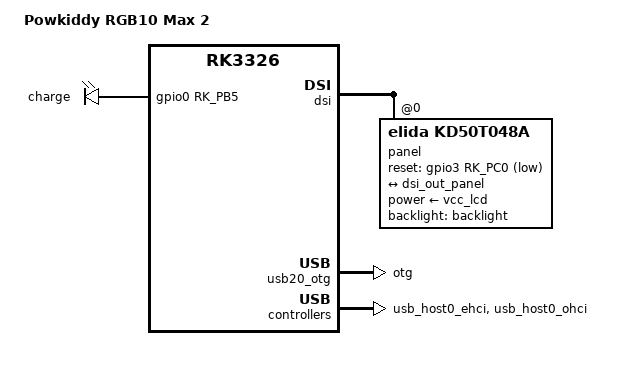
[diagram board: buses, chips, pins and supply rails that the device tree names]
// SPDX-License-Identifier: (GPL-2.0+ OR MIT)
/*
 * Powkiddy RGB10 Max 2 for andr36oid.
 *
 * Board evidence (user's card, RetroOZ 0.60, /opt/.retrooz/device =
 * rgb10max2native): RetroOZ boots hwrev=v10-go3 with
 * rk3326-odroidgo3-linux.dtb ("Machine model: Hardkernel ODROID-GO3"),
 * i.e. an ODROID-GO-Super-class board:
 *   - elida,kd50t048a 5" panel, MIPI DSI, 2 data lanes, 480x854 portrait
 *     used landscape (854x480), backlight pwm1 40000 ns, 251 levels
 *   - odroidgo3-joypad amux sticks, same mux pins as the R36S base
 *     (gpio3 PB3/PB0/PB5, saradc ch1), sticks need +invert-absrx
 *   - volume keys gpio2 PA0/PA1 (as in the base dtsi)
 *   - RK817 PMIC, 4000 mAh battery, charge LED gpio0 PB5, no vibrator,
 *     no gpio status LED beyond the base heartbeat
 *   - Wi-Fi: internal Realtek RTL8723BU on the internal USB bus
 *     (idVendor 0bda idProduct b720 behind a Genesys 05e3:0608 hub);
 *     &sdio stays off, nothing lives on SDIO.
 *
 * Everything else (CPU, power, USB, Android glue, ramoops, fixes) comes
 * from rk3326-r36s-android.dtsi, same as R46H/R50S and the other boards.
 */

/dts-v1/;
#include "rk3326-r36s-android.dtsi"

/ {
	model = "Powkiddy RGB10 Max 2";

	backlight: backlight {
		pwms = <&pwm1 0 40000 0>;
		brightness-levels = <
			  0   1   2   3   4   5   6   7
			  8   9  10  11  12  13  14  15
			 16  17  18  19  20  21  22  23
			 24  25  26  27  28  29  30  31
			 32  33  34  35  36  37  38  39
			 40  41  42  43  44  45  46  47
			 48  49  50  51  52  53  54  55
			 56  57  58  59  60  61  62  63
			 64  65  66  67  68  69  70  71
			 72  73  74  75  76  77  78  79
			 80  81  82  83  84  85  86  87
			 88  89  90  91  92  93  94  95
			 96  97  98  99 100 101 102 103
			104 105 106 107 108 109 110 111
			112 113 114 115 116 117 118 119
			120 121 122 123 124 125 126 127
			128 129 130 131 132 133 134 135
			136 137 138 139 140 141 142 143
			144 145 146 147 148 149 150 151
			152 153 154 155 156 157 158 159
			160 161 162 163 164 165 166 167
			168 169 170 171 172 173 174 175
			176 177 178 179 180 181 182 183
			184 185 186 187 188 189 190 191
			192 193 194 195 196 197 198 199
			200 201 202 203 204 205 206 207
			208 209 210 211 212 213 214 215
			216 217 218 219 220 221 222 223
			224 225 226 227 228 229 230 231
			232 233 234 235 236 237 238 239
			240 241 242 243 244 245 246 247
			248 249 250>;
		default-brightness-level = <125>;
	};
};

&leds {
	/delete-node/ vibrator;

	/* Charge LED: no driver reads the old chg_led_gpio property */
	charge {
		label = "charge";
		gpios = <&gpio0 RK_PB5 GPIO_ACTIVE_HIGH>;
		linux,default-trigger = "battery-charging";
	};
};

&joypad {
	/* RGB10 Max 2 sticks: go3 wiring, right stick X inverted as well */
	invert-absrx;
	/* no Fn button on this console; Android offers a stand-in */
	andr36oid,missing-buttons = "fn";
	/* explicit amux channel assignments as in the go3 DTB */
	abs_ry_channel = <1>;
	abs_rx_channel = <0>;
	abs_y_channel = <2>;
	abs_x_channel = <3>;

	/*
	 * Button map: the go3 (ODROID-GO Super) layout, ported verbatim from
	 * the RGB10 Max 2's own rk3326-odroidgo3-linux.dtb (RetroOZ boots it
	 * on this very unit). The R36S dtsi base differs in key codes (arrows
	 * vs BTN_DPAD_*, A/B swapped) and misses six aux/shoulder buttons on
	 * gpio2 PA4-PA7 / gpio3, so the whole sw set is replaced.
	 */
	/delete-node/ sw1;
	/delete-node/ sw2;
	/delete-node/ sw3;
	/delete-node/ sw4;
	/delete-node/ sw5;
	/delete-node/ sw6;
	/delete-node/ sw7;
	/delete-node/ sw8;
	/delete-node/ sw11;
	/delete-node/ sw12;
	/delete-node/ sw13;
	/delete-node/ sw15;
	/delete-node/ sw16;
	/delete-node/ sw19;
	/delete-node/ sw20;
	/delete-node/ sw21;
	/delete-node/ sw22;

	sw1 {
		gpios = <&gpio1 RK_PB4 GPIO_ACTIVE_LOW>;
		label = "GPIO DPAD-UP";
		linux,code = <103>; /* KEY_UP - the .kl maps arrows to DPAD */
	};
	sw2 {
		gpios = <&gpio1 RK_PB5 GPIO_ACTIVE_LOW>;
		label = "GPIO DPAD-DOWN";
		linux,code = <108>; /* KEY_DOWN */
	};
	sw3 {
		gpios = <&gpio1 RK_PB6 GPIO_ACTIVE_LOW>;
		label = "GPIO DPAD-LEFT";
		linux,code = <105>; /* KEY_LEFT */
	};
	sw4 {
		gpios = <&gpio1 RK_PB7 GPIO_ACTIVE_LOW>;
		label = "GPIO DPAD-RIGHT";
		linux,code = <106>; /* KEY_RIGHT */
	};
	sw5 {
		gpios = <&gpio1 RK_PA2 GPIO_ACTIVE_LOW>;
		label = "GPIO KEY BTN-A";
		linux,code = <304>; /* BTN_SOUTH -> BUTTON_A */
	};
	sw6 {
		gpios = <&gpio1 RK_PA5 GPIO_ACTIVE_LOW>;
		label = "GPIO BTN-B";
		linux,code = <305>; /* BTN_EAST -> BUTTON_B */
	};
	sw7 {
		gpios = <&gpio1 RK_PA6 GPIO_ACTIVE_LOW>;
		label = "GPIO BTN-Y";
		linux,code = <308>; /* BTN_WEST -> BUTTON_Y */
	};
	sw8 {
		gpios = <&gpio1 RK_PA7 GPIO_ACTIVE_LOW>;
		label = "GPIO BTN-X";
		linux,code = <307>; /* BTN_NORTH -> BUTTON_X */
	};
	sw9 {
		gpios = <&gpio2 RK_PA2 GPIO_ACTIVE_LOW>;
		label = "GPIO START";
		linux,code = <315>; /* BUTTON_START */
	};
	sw10 {
		gpios = <&gpio2 RK_PA3 GPIO_ACTIVE_LOW>;
		label = "GPIO SELECT";
		linux,code = <314>; /* BUTTON_SELECT */
	};
	sw11 {
		gpios = <&gpio2 RK_PA4 GPIO_ACTIVE_LOW>;
		label = "GPIO F5";
		linux,code = <0x2c4>; /* BTN_TRIGGER_HAPPY5 */
	};
	sw12 {
		gpios = <&gpio2 RK_PA5 GPIO_ACTIVE_LOW>;
		label = "GPIO F6";
		linux,code = <0x2c5>; /* BTN_TRIGGER_HAPPY6 */
	};
	sw13 {
		gpios = <&gpio2 RK_PA6 GPIO_ACTIVE_LOW>;
		label = "GPIO TOP-LEFT2";
		linux,code = <0x138>; /* BTN_TL2 (L2) */
	};
	sw14 {
		gpios = <&gpio2 RK_PA7 GPIO_ACTIVE_LOW>;
		label = "GPIO TOP-RIGHT2";
		linux,code = <0x139>; /* BTN_TR2 (R2) */
	};
	sw15 {
		gpios = <&gpio3 RK_PB1 GPIO_ACTIVE_LOW>;
		label = "GPIO F1";
		linux,code = <0x2c0>; /* BTN_TRIGGER_HAPPY1 */
	};
	sw16 {
		gpios = <&gpio3 RK_PB2 GPIO_ACTIVE_LOW>;
		label = "GPIO TOP-LEFT";
		linux,code = <0x136>; /* BTN_TL (L1) */
	};
	sw17 {
		gpios = <&gpio3 RK_PB4 GPIO_ACTIVE_LOW>;
		label = "GPIO F2";
		linux,code = <0x2c1>; /* BTN_TRIGGER_HAPPY2 */
	};
	sw18 {
		gpios = <&gpio3 RK_PB7 GPIO_ACTIVE_LOW>;
		label = "GPIO TOP-RIGHT";
		linux,code = <0x137>; /* BTN_TR (R1) */
	};

	/*
	 * sw22 from the R36S base (START on gpio3 PB4) is intentionally NOT
	 * kept: on the RGB10 Max 2's go3 wiring that pin is an aux button
	 * (sw17), and the real Start/Select sit on gpio2 PA2/PA3 (sw9/sw10).
	 * Keeping sw22 here would put two buttons on one pin.
	 */
};

&dsi {
	/delete-node/ panel@0;

		panel@0 {
			compatible = "elida,kd50t048a", "simple-panel-dsi";
			reg = <0>;

			/* pwm1 backlight */
			backlight = <&backlight>;

			/* LCD reset gpio GPIO3.C0 (kernel log: gpio 112, active low) */
			reset-gpios = <&gpio3 RK_PC0 GPIO_ACTIVE_LOW>;

			/* RK817 LDO8 */
			power-supply = <&vcc_lcd>;

			prepare-delay-ms = <2>;
			reset-delay-ms = <20>;
			init-delay-ms = <10>;
			enable-delay-ms = <50>;
			disable-delay-ms = <10>;
			unprepare-delay-ms = <10>;

			/* LCD size */
			width-mm = <69>;
			height-mm = <139>;

			dsi,flags = <(MIPI_DSI_MODE_VIDEO           |
				      MIPI_DSI_MODE_VIDEO_BURST     |
				      MIPI_DSI_MODE_LPM)>;

			dsi,format = <MIPI_DSI_FMT_RGB888>;
			/* This panel runs on two data lanes (go3 DTB), not four */
			dsi,lanes = <2>;

			/*
				- panel-init-sequence data description -
				  mipi_cmd, delay(ms), len, lcd_cmd, lcd_data...

				- mipi_cmd description -
				  05 : MIPI_DSI_SHORT_WRITE
				  15 : MIPI_DSI_SHORT_WRITE_PARAM
				  39 : MIPI_DSI_LONG_WRITE

				Init sequence and timings ported verbatim from the
				RGB10 Max 2's own rk3326-odroidgo3-linux.dtb.
			*/
			panel-init-sequence = [05 05 01 01 05 fa 01 11 39 00 06 ff 77 01 00 00 10 15 00 03 c0 e9 03 15 00 03 c1 11 02 15 00 03 c2 31 08 15 00 02 cc 10 39 00 11 b0 00 0d 14 0d 10 05 02 08 08 1e 05 13 11 a3 29 18 39 00 11 b1 00 0c 14 0c 10 05 03 08 07 20 05 13 11 a4 29 18 39 00 06 ff 77 01 00 00 11 15 00 02 b0 6c 15 00 02 b1 43 15 00 02 b2 07 15 00 02 b3 80 15 00 02 b5 47 15 00 02 b7 85 15 00 02 b8 20 15 00 02 b9 10 15 00 02 c1 78 15 00 02 c3 78 15 fa 02 d0 88 39 00 04 e0 00 00 02 39 00 0c e1 08 00 0a 00 07 00 09 00 00 33 33 39 00 0f e2 00 00 00 00 00 00 00 00 00 00 00 00 00 00 39 00 05 e3 00 00 33 33 15 00 03 e4 44 44 39 00 11 e5 0e 60 a0 a0 10 60 a0 a0 0a 60 a0 a0 0c 60 a0 a0 39 00 05 e6 00 00 33 33 15 00 03 e7 44 44 39 00 11 e8 0d 60 a0 a0 0f 60 a0 a0 09 60 a0 a0 0b 60 a0 a0 39 00 08 eb 02 01 e4 e4 44 00 40 15 00 03 ec 02 01 39 00 11 ed ab 89 76 54 01 ff ff ff ff ff ff 10 45 67 98 ba 39 00 06 ff 77 01 00 00 00 15 00 02 3a 70 15 00 02 53 ec 15 00 02 55 b3 15 00 02 5e ff 05 32 01 29];

			panel-exit-sequence = <0x5000128 0x5000110>;

			display-timings {
				native-mode = <&timing0>;

				timing0: timing0 {
					clock-frequency = <27500000>;
					hactive = <480>;
					vactive = <854>;
					hfront-porch = <2>;
					hsync-len = <10>;
					hback-porch = <2>;
					vfront-porch = <12>;
					vsync-len = <2>;
					vback-porch = <60>;
					hsync-active = <0>;
					vsync-active = <0>;
					de-active = <0>;
					pixelclk-active = <0>;
				};
			};

			ports {
				#address-cells = <1>;
				#size-cells = <0>;

				port@0 {
					reg = <0>;
					dsi_in_panel: endpoint {
						remote-endpoint = <&dsi_out_panel>;
					};
				};
			};
		};
};

&rk817 {
	battery {
		/* Panel and battery values from the RGB10 Max 2's own DTB:
		   4000 mAh cell, 4.2 V charge, 180 mOhm, 10 mOhm sense. */
		ocv_table = <3500 3625 3685 3697 3718 3735 3748
			     3760 3774 3788 3802 3816 3834 3853
			     3877 3908 3946 3975 4018 4071 4106>;
		design_capacity = <4000>;
		design_qmax = <4020>;
		bat_res = <180>;
		sleep_enter_current = <300>;
		sleep_exit_current = <300>;
		sleep_filter_current = <100>;
		power_off_thresd = <3300>;
		zero_algorithm_vol = <3850>;
		max_soc_offset = <60>;
		monitor_sec = <5>;
		virtual_power = <0>;
		sample_res = <10>;
	};

	charger {
		/delete-property/ bat_low_gpio;
		min_input_voltage = <4500>;
		max_input_current = <1500>;
		max_chrg_current = <2000>;
		max_chrg_voltage = <4200>;
		chrg_term_mode = <0>;
		chrg_finish_cur = <300>;
		virtual_power = <0>;
		sample_res = <10>;
	};
};

&rk817_codec {
	mic-in-differential;
};

/*
 * RGB10 Max 2 Wi-Fi — v17: the endgame test.
 * Live debugging (adb via tethered PC) proved: the bus, hub, dongle,
 * driver and Wi-Fi stack are all perfect — powering the OTG VBUS net
 * from outside (PC 5V) makes Wi-Fi work instantly; unplugging kills it
 * in <3s. otg_switch stays "disabled" while working, so the net is fed
 * ONLY by external VBUS today.
 * Remaining question: can the PMIC otg_switch rail drive this net at
 * all? v13's single snapshot showed the register claiming "on" while
 * the hub stayed dead — but that may have been transient (re-killed).
 * v17 = v13's extcon chain (port enabled, suppression deleted, phy
 * vbus-supply) on the v16 base (autosuspend off, PM pins, role toggle
 * + fast rail sampling in the diag). If the register holds "on" and
 * the hub still ignores it, the board wiring is the answer (external
 * 5V required); if the hub comes up, the rail path is fixed and
 * Wi-Fi works standalone.
 */
&u2phy_otg {
	vbus-supply = <&otg_switch>;
	/delete-property/ rockchip,no-vbus-en-extcon;
};

&usb20_otg {
	/* dual-role: boots as host (dtsi default-otg-mode), Android's init
	 * already configures the adb gadget (init.usb.configfs.rc) and the
	 * phy's otg_mode attribute switches roles — enables cable ADB. */
	dr_mode = "otg";
};

/*
 * RGB10 Max 2: also enable the dedicated host pair (EHCI + OHCI); the
 * shared u2phy host-port is already okay from the base dtsi.
 */
&usb_host0_ehci {
	status = "okay";
};

&usb_host0_ohci {
	status = "okay";
};

/*
 * RGB10 Max 2: the R36S base dtsi wires the charger's DC detect to
 * gpio0 PB3 ("P.C.B rev0.2 DC Detect"). This board has no DC jack and
 * the pin floats high, so the charger reports mains online and Android
 * shows "charging" with no cable. Remove the detection entirely; USB-C
 * power (the real charge path) is unaffected.
 */
&rk817 {
	charger {
		/delete-property/ dc_det_gpio;
	};
};

/* One card slot only; Wi-Fi is the internal USB RTL8723BU */
&sdio {
	status = "disabled";
};

&io_domains {
	vccio1-supply = <&vcc_3v3>;
};
